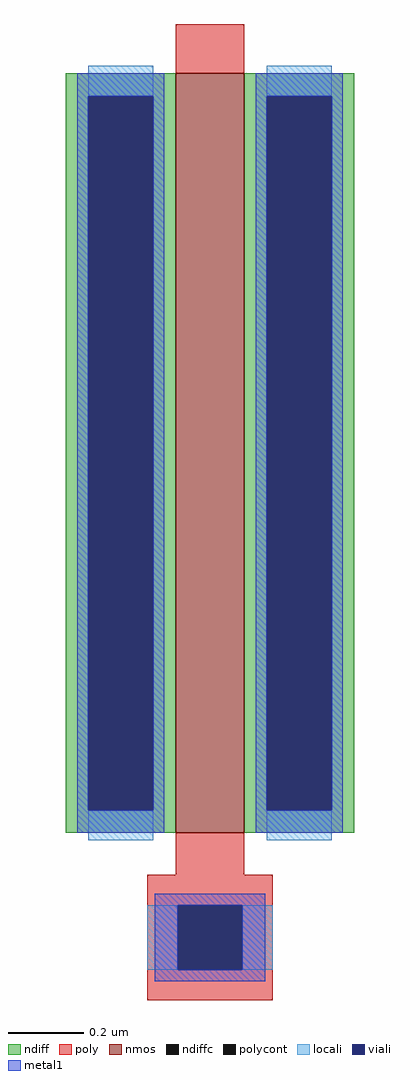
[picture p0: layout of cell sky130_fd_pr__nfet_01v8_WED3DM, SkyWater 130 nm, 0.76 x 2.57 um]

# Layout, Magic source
magic
tech sky130A
magscale 1 2
<< nmos >>
rect -18 -169 18 231
<< ndiff >>
rect -76 219 -18 231
rect -76 -157 -64 219
rect -30 -157 -18 219
rect -76 -169 -18 -157
rect 18 219 76 231
rect 18 -157 30 219
rect 64 -157 76 219
rect 18 -169 76 -157
<< ndiffc >>
rect -64 -157 -30 219
rect 30 -157 64 219
<< poly >>
rect -18 231 18 257
rect -18 -191 18 -169
rect -33 -207 33 -191
rect -33 -241 -17 -207
rect 17 -241 33 -207
rect -33 -257 33 -241
<< polycont >>
rect -17 -241 17 -207
<< locali >>
rect -64 219 -30 235
rect -64 -173 -30 -157
rect 30 219 64 235
rect 30 -173 64 -157
rect -33 -241 -17 -207
rect 17 -241 33 -207
<< viali >>
rect -64 -157 -30 219
rect 30 -157 64 219
rect -17 -241 17 -207
<< metal1 >>
rect -70 219 -24 231
rect -70 -157 -64 219
rect -30 -157 -24 219
rect -70 -169 -24 -157
rect 24 219 70 231
rect 24 -157 30 219
rect 64 -157 70 219
rect 24 -169 70 -157
rect -29 -207 29 -201
rect -29 -241 -17 -207
rect 17 -241 29 -207
rect -29 -247 29 -241
<< properties >>
string gencell sky130_fd_pr__nfet_01v8
string library sky130
string parameters w 2.0 l 0.18 m 1 nf 1 diffcov 100 polycov 100 guard 0 glc 0 grc 0 gtc 0 gbc 0 tbcov 100 rlcov 100 topc 0 botc 1 poverlap 0 doverlap 0 lmin 0.15 wmin 0.42 compatible {sky130_fd_pr__nfet_01v8 sky130_fd_pr__nfet_01v8_lvt  sky130_fd_bs_flash__special_sonosfet_star  sky130_fd_pr__nfet_g5v0d10v5 sky130_fd_pr__nfet_05v0_nvt  sky130_fd_pr__nfet_03v3_nvt} full_metal 0 viasrc 100 viadrn 100 viagate 100 viagb 0 viagr 0 viagl 0 viagt 0
<< end >>
